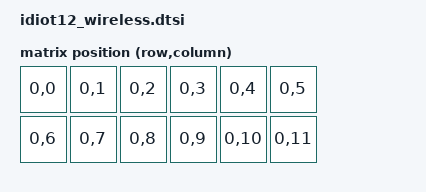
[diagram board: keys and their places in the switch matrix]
#include <dt-bindings/zmk/matrix_transform.h>
#include "idiot12_wireless-layouts.dtsi"

/ {
    kscan0: kscan0 {
        compatible = "zmk,kscan-gpio-direct";
        wakeup-source;
    };

    default_transform: keymap_transform_0 {
		compatible = "zmk,matrix-transform";
		columns = <12>;
		rows = <1>;
		map = <
		RC(0,0)  RC(0,1)  RC(0,2)    RC(0,3)  RC(0,4)  RC(0,5)
		RC(0,6)  RC(0,7)  RC(0,8)    RC(0,9)  RC(0,10) RC(0,11)
		>;
	};

	chosen {
        zmk,physical-layout = &physical_layout0;
    };
};

&physical_layout0 {
    kscan = <&kscan0>;
    transform = <&default_transform>;
};
